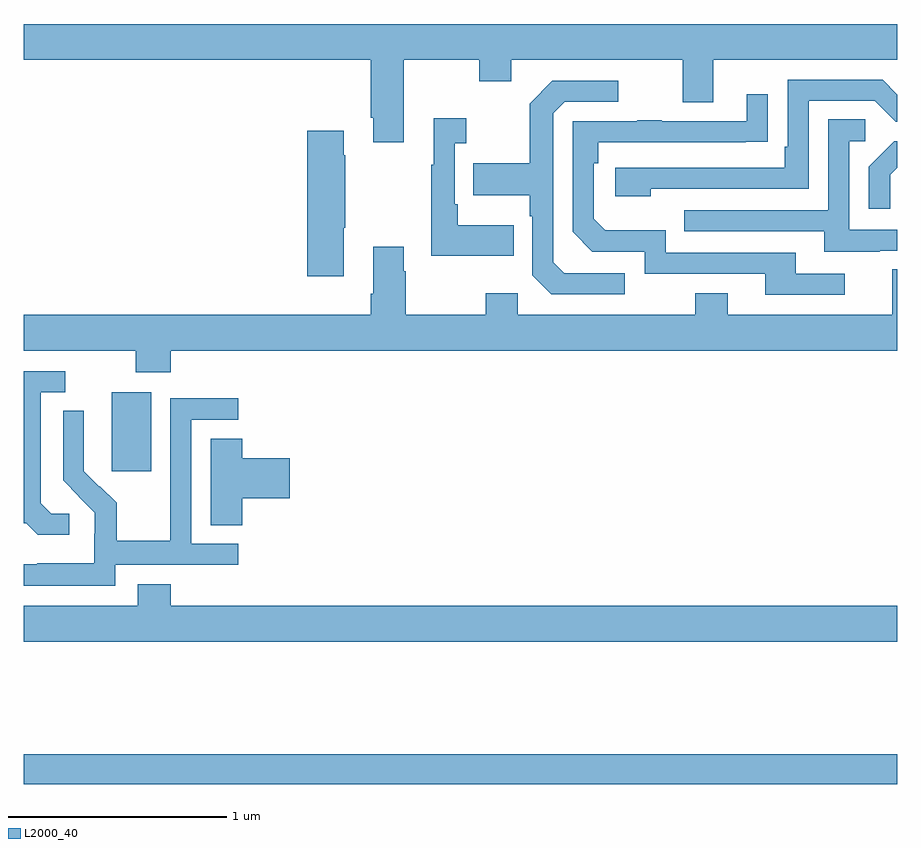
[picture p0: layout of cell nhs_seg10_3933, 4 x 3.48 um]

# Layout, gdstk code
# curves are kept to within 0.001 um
import gdstk
lib = gdstk.Library(unit=1e-6, precision=1e-09)
def R(c, l, rs):  # rectangles x0, y0, x1, y1
    for r in rs: c.add(gdstk.rectangle(r[:2], r[2:], *l))
def P(c, l, *ps):  # polygons
    for p in ps: c.add(gdstk.Polygon(p, *l))
L2000_40 = (2000, 40)

nhs_seg10_3933 = lib.new_cell('nhs_seg10_3933')
R(nhs_seg10_3933, L2000_40, [(327,1320.976,331,1321.112), (327.404,1322.409,327.583,1322.77)])
P(nhs_seg10_3933, L2000_40, [(328.741,1324.292),(329.086,1324.292),(329.086,1324.193),(329.233,1324.193),(329.233,1324.292),(330.017,1324.292),(330.017,1324.098),(330.157,1324.098),(330.157,1324.292),(331,1324.292),(331,1324.456),(327,1324.456),(327,1324.292),(328.589,1324.292),(328.589,1324.027),(328.601,1324.027),(328.601,1323.915),(328.741,1323.915)],
  [(329.87,1323.702),(330.594,1323.702),(330.594,1324.104),(330.897,1324.104),(330.993,1324.008),(331,1324.008),(331,1324.133),(330.933,1324.2),(330.498,1324.2),(330.498,1323.895),(330.485,1323.895),(330.485,1323.798),(329.709,1323.798),(329.709,1323.668),(329.87,1323.668)],
  [(329.752,1323.315),(329.475,1323.315),(329.424,1323.366),(329.424,1324.047),(329.478,1324.101),(329.722,1324.101),(329.722,1324.197),(329.421,1324.197),(329.316,1324.091),(329.316,1323.819),(329.059,1323.819),(329.059,1323.671),(329.316,1323.671),(329.316,1323.575),(329.328,1323.575),(329.328,1323.306),(329.415,1323.219),(329.752,1323.219)],
  [(330.76,1323.312),(330.535,1323.312),(330.535,1323.408),(329.94,1323.408),(329.94,1323.511),(329.663,1323.511),(329.61,1323.564),(329.61,1323.818),(329.63,1323.818),(329.63,1323.915),(330.407,1323.916),(330.407,1324.135),(330.311,1324.135),(330.311,1324.011),(329.921,1324.011),(329.921,1324.016),(329.809,1324.016),(329.809,1324.011),(329.514,1324.011),(329.514,1323.504),(329.604,1323.414),(329.844,1323.414),(329.844,1323.312),(330.395,1323.312),(330.395,1323.216),(330.76,1323.216)],
  [(329.243,1323.535),(328.987,1323.535),(328.987,1323.631),(328.974,1323.631),(328.974,1323.911),(329.026,1323.911),(329.026,1324.024),(328.877,1324.024),(328.877,1323.811),(328.866,1323.811),(328.866,1323.395),(329.243,1323.395)],
  [(330.919,1323.417),(331,1323.417),(331,1323.513),(330.78,1323.513),(330.78,1323.918),(330.853,1323.918),(330.853,1324.019),(330.684,1324.019),(330.684,1323.603),(330.025,1323.603),(330.025,1323.507),(330.665,1323.507),(330.665,1323.413),(330.919,1323.413)],
  [(328.465,1323.523),(328.473,1323.523),(328.473,1323.854),(328.465,1323.854),(328.465,1323.967),(328.298,1323.967),(328.298,1323.3),(328.465,1323.3)],
  [(330.967,1323.765),(331,1323.798),(331,1323.918),(330.986,1323.918),(330.87,1323.802),(330.87,1323.609),(330.967,1323.609)],
  [(327.674,1322.96),(331,1322.96),(331,1323.332),(330.977,1323.332),(330.977,1323.124),(330.223,1323.124),(330.223,1323.223),(330.076,1323.223),(330.076,1323.124),(329.262,1323.124),(329.262,1323.223),(329.116,1323.223),(329.116,1323.124),(328.749,1323.124),(328.749,1323.323),(328.741,1323.323),(328.741,1323.436),(328.601,1323.436),(328.601,1323.22),(328.589,1323.22),(328.589,1323.124),(327,1323.124),(327,1322.96),(327.514,1322.96),(327.514,1322.861),(327.674,1322.861)],
  [(327.208,1322.214),(327.126,1322.214),(327.079,1322.261),(327.079,1322.769),(327.19,1322.769),(327.19,1322.865),(327,1322.865),(327,1322.169),(327.012,1322.169),(327.064,1322.117),(327.208,1322.117)],
  [(327.42,1321.98),(327.982,1321.98),(327.982,1322.076),(327.768,1322.076),(327.768,1322.643),(327.982,1322.643),(327.982,1322.742),(327.672,1322.742),(327.672,1322.312),(327.67,1322.312),(327.67,1322.089),(327.425,1322.089),(327.425,1322.263),(327.348,1322.34),(327.345,1322.337),(327.275,1322.408),(327.276,1322.684),(327.18,1322.684),(327.18,1322.366),(327.326,1322.218),(327.326,1322.121),(327.324,1322.121),(327.324,1321.987),(327.061,1321.987),(327.061,1321.983),(327,1321.983),(327,1321.883),(327.42,1321.883)],
  [(328.001,1322.285),(328.219,1322.285),(328.219,1322.468),(328.001,1322.468),(328.001,1322.558),(327.857,1322.558),(327.857,1322.161),(328.001,1322.161)],
  [(331,1321.792),(327.674,1321.792),(327.674,1321.891),(327.521,1321.891),(327.521,1321.792),(327,1321.792),(327,1321.628),(331,1321.628)])

lib.write_gds('nhs_seg10_3933.gds')
